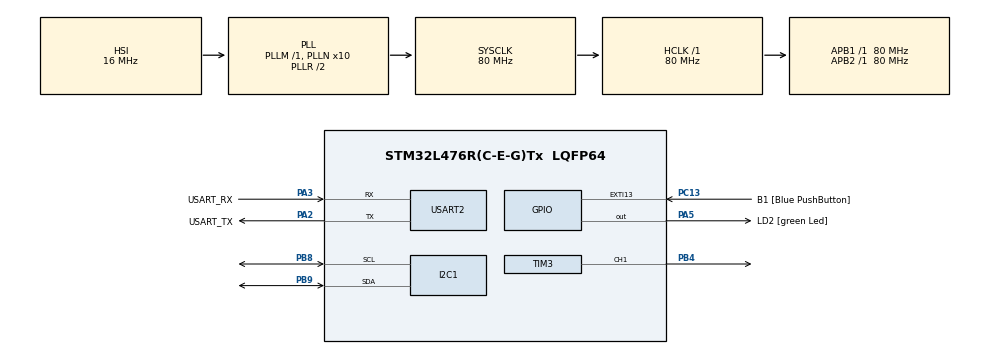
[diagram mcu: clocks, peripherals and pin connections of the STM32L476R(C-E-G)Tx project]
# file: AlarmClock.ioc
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FREERTOS.Tasks01=defaultTask,24,128,StartDefaultTask,Default,NULL,Dynamic,NULL,NULL;get_cmd,8,512,get_command,Default,NULL,Dynamic,NULL,NULL;chackAlarm,8,512,Alarmcheck,Default,NULL,Dynamic,NULL,NULL
FREERTOS.configTOTAL_HEAP_SIZE=6000
I2C1.Timing=0x10909CEC
Mcu.Family=STM32L4
Mcu.Name=STM32L476R(C-E-G)Tx
Mcu.Package=LQFP64
NVIC.PriorityGroup=NVIC_PRIORITYGROUP_4
PA13\ (JTMS-SWDIO).GPIO_Label=TMS
PA13\ (JTMS-SWDIO).Mode=Serial_Wire
PA13\ (JTMS-SWDIO).Signal=SYS_JTMS-SWDIO
PA14\ (JTCK-SWCLK).GPIO_Label=TCK
PA14\ (JTCK-SWCLK).Mode=Serial_Wire
PA14\ (JTCK-SWCLK).Signal=SYS_JTCK-SWCLK
PA2.GPIO_Label=USART_TX
PA2.GPIO_Mode=GPIO_MODE_AF_PP
PA2.GPIO_PuPd=GPIO_NOPULL
PA2.GPIO_Speed=GPIO_SPEED_FREQ_VERY_HIGH
PA2.Mode=Asynchronous
PA2.Signal=USART2_TX
PA3.GPIO_Label=USART_RX
PA3.GPIO_Mode=GPIO_MODE_AF_PP
PA3.GPIO_PuPd=GPIO_NOPULL
PA3.GPIO_Speed=GPIO_SPEED_FREQ_VERY_HIGH
PA3.Mode=Asynchronous
PA3.Signal=USART2_RX
PA5.GPIO_Label=LD2 [green Led]
PA5.GPIO_ModeDefaultOutputPP=GPIO_MODE_OUTPUT_PP
PA5.GPIO_PuPd=GPIO_NOPULL
PA5.GPIO_Speed=GPIO_SPEED_FREQ_LOW
PA5.Signal=GPIO_Output
PB3\ (JTDO-TRACESWO).GPIO_Label=SWO
PB3\ (JTDO-TRACESWO).Signal=SYS_JTDO-SWO
PB4\ (NJTRST).Signal=S_TIM3_CH1
PB8.Mode=I2C
PB8.Signal=I2C1_SCL
PB9.Mode=I2C
PB9.Signal=I2C1_SDA
PC13.GPIO_Label=B1 [Blue PushButton]
PC13.GPIO_ModeDefaultEXTI=GPIO_MODE_IT_FALLING
PC13.GPIO_PuPd=GPIO_NOPULL
PC13.Signal=GPXTI13
PC14-OSC32_IN\ (PC14).Mode=LSE-External-Oscillator
PC14-OSC32_IN\ (PC14).Signal=RCC_OSC32_IN
PC15-OSC32_OUT\ (PC15).Mode=LSE-External-Oscillator
PC15-OSC32_OUT\ (PC15).Signal=RCC_OSC32_OUT
PH0-OSC_IN\ (PH0).Signal=RCC_OSC_IN
PH1-OSC_OUT\ (PH1).Signal=RCC_OSC_OUT
ProjectManager.HeapSize=0x200
ProjectManager.StackSize=0x400
ProjectManager.TargetToolchain=STM32CubeIDE
RCC.ADCFreq_Value=64000000
RCC.AHBFreq_Value=80000000
RCC.APB1Freq_Value=80000000
RCC.APB1TimFreq_Value=80000000
RCC.APB2Freq_Value=80000000
RCC.APB2TimFreq_Value=80000000
RCC.CortexFreq_Value=80000000
RCC.HCLKFreq_Value=80000000
RCC.HSE_VALUE=8000000
RCC.HSI_VALUE=16000000
RCC.MSI_VALUE=4000000
RCC.PLLN=10
RCC.PLLSourceVirtual=RCC_PLLSOURCE_HSI
RCC.PREFETCH_ENABLE=1
RCC.SYSCLKFreq_VALUE=80000000
RCC.SYSCLKSource=RCC_SYSCLKSOURCE_PLLCLK
RCC.USBFreq_Value=64000000
RCC.VCOOutputFreq_Value=160000000
SH.S_TIM3_CH1.0=TIM3_CH1,PWM Generation1 CH1
TIM3.Channel-PWM\ Generation1\ CH1=TIM_CHANNEL_1
TIM3.Period=381
TIM3.Prescaler=799
USART2.VirtualMode-Asynchronous=VM_ASYNC
VP_FREERTOS_VS_CMSIS_V2.Mode=CMSIS_V2
VP_TIM3_VS_ClockSourceINT.Mode=Internal
board=NUCLEO-L476RG

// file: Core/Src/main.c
/* USER CODE BEGIN Header */
/**
  ******************************************************************************
  * @file           : main.c
  * @brief          : Main program body
  ******************************************************************************
  * @attention
  *
  * Copyright (c) 2022 STMicroelectronics.
  * All rights reserved.
  *
  * This software is licensed under terms that can be found in the LICENSE file
  * in the root directory of this software component.
  * If no LICENSE file comes with this software, it is provided AS-IS.
  *
  ******************************************************************************
  */
/* USER CODE END Header */
#include "main.h"
#include "cmsis_os.h"

/* USER CODE BEGIN Includes */
#include "stdint.h"
#include "stdio.h"
#include <string.h>
#include <stdlib.h>
#include "Rtc.h"
#include "commTask.h"
#include "LED.h"
#include "BUZZER.h"
#include "CLI.h"
#include "Alarm.h"
#include "BUTTON.h"
/* USER CODE END Includes */

/* USER CODE BEGIN PTD */
Rtc _rtc;
DateTime timeNow;
Led _redLed;
Buzzer _buzzer;
Led _redLed;
Led _blueLed;
Button _rightButton;
Button _leftButton;
/* USER CODE END PTD */

 I2C_HandleTypeDef hi2c1;

TIM_HandleTypeDef htim3;

UART_HandleTypeDef huart2;

/* Definitions for defaultTask */
osThreadId_t defaultTaskHandle;
const osThreadAttr_t defaultTask_attributes = {
  .name = "defaultTask",
  .stack_size = 128 * 4,
  .priority = (osPriority_t) osPriorityNormal,
};
/* Definitions for get_cmd */
osThreadId_t get_cmdHandle;
const osThreadAttr_t get_cmd_attributes = {
  .name = "get_cmd",
  .stack_size = 512 * 4,
  .priority = (osPriority_t) osPriorityLow,
};
/* Definitions for chackAlarm */
osThreadId_t chackAlarmHandle;
const osThreadAttr_t chackAlarm_attributes = {
  .name = "chackAlarm",
  .stack_size = 512 * 4,
  .priority = (osPriority_t) osPriorityLow,
};

void SystemClock_Config(void);
static void MX_GPIO_Init(void);
static void MX_USART2_UART_Init(void);
static void MX_I2C1_Init(void);
static void MX_TIM3_Init(void);
void StartDefaultTask(void *argument);
void get_command(void *argument);
void Alarmcheck(void *argument);

/* USER CODE BEGIN 0 */

int _write(int fd, char* ptr, int len)
 {
     HAL_UART_Transmit(&huart2, (uint8_t *) ptr, len, HAL_MAX_DELAY);
     return len;
 }

/* USER CODE END 0 */

int main(void)
{

  /* MCU Configuration--------------------------------------------------------*/

  /* Reset of all peripherals, Initializes the Flash interface and the Systick. */
  HAL_Init();

  /* Configure the system clock */
  SystemClock_Config();

  /* Initialize all configured peripherals */
  MX_GPIO_Init();
  MX_USART2_UART_Init();
  MX_I2C1_Init();
  MX_TIM3_Init();
  /* USER CODE BEGIN 2 */

  rtcInit(&_rtc, &hi2c1, 0xD0);
  initAlarms();
  cliInit();
  buzzerInit(&_buzzer , &htim3, TIM_CHANNEL_1);
//  ledInit(&_redLed , RLED_GPIO_Port, RLED_Pin);
//  buttonInit(&_rightButton , RB_GPIO_Port , RB_Pin);
//  buttonInit(&_leftButton , LB_GPIO_Port , LB_Pin);
  /* USER CODE END 2 */

  /* Init scheduler */
  osKernelInitialize();

  /* Create the thread(s) */
  /* creation of defaultTask */
  defaultTaskHandle = osThreadNew(StartDefaultTask, NULL, &defaultTask_attributes);

  /* creation of get_cmd */
  get_cmdHandle = osThreadNew(get_command, NULL, &get_cmd_attributes);

  /* creation of chackAlarm */
  chackAlarmHandle = osThreadNew(Alarmcheck, NULL, &chackAlarm_attributes);

  /* Start scheduler */
  osKernelStart();

  /* We should never get here as control is now taken by the scheduler */
  /* Infinite loop */
  while (1)
  {

  }
}

void SystemClock_Config(void)
{
  RCC_OscInitTypeDef RCC_OscInitStruct = {0};
  RCC_ClkInitTypeDef RCC_ClkInitStruct = {0};

  /** Configure the main internal regulator output voltage
  */
  if (HAL_PWREx_ControlVoltageScaling(PWR_REGULATOR_VOLTAGE_SCALE1) != HAL_OK)
  {
    Error_Handler();
  }

  /** Initializes the RCC Oscillators according to the specified parameters
  * in the RCC_OscInitTypeDef structure.
  */
  RCC_OscInitStruct.OscillatorType = RCC_OSCILLATORTYPE_HSI;
  RCC_OscInitStruct.HSIState = RCC_HSI_ON;
  RCC_OscInitStruct.HSICalibrationValue = RCC_HSICALIBRATION_DEFAULT;
  RCC_OscInitStruct.PLL.PLLState = RCC_PLL_ON;
  RCC_OscInitStruct.PLL.PLLSource = RCC_PLLSOURCE_HSI;
  RCC_OscInitStruct.PLL.PLLM = 1;
  RCC_OscInitStruct.PLL.PLLN = 10;
  RCC_OscInitStruct.PLL.PLLP = RCC_PLLP_DIV7;
  RCC_OscInitStruct.PLL.PLLQ = RCC_PLLQ_DIV2;
  RCC_OscInitStruct.PLL.PLLR = RCC_PLLR_DIV2;
  if (HAL_RCC_OscConfig(&RCC_OscInitStruct) != HAL_OK)
  {
    Error_Handler();
  }

  /** Initializes the CPU, AHB and APB buses clocks
  */
  RCC_ClkInitStruct.ClockType = RCC_CLOCKTYPE_HCLK|RCC_CLOCKTYPE_SYSCLK
                              |RCC_CLOCKTYPE_PCLK1|RCC_CLOCKTYPE_PCLK2;
  RCC_ClkInitStruct.SYSCLKSource = RCC_SYSCLKSOURCE_PLLCLK;
  RCC_ClkInitStruct.AHBCLKDivider = RCC_SYSCLK_DIV1;
  RCC_ClkInitStruct.APB1CLKDivider = RCC_HCLK_DIV1;
  RCC_ClkInitStruct.APB2CLKDivider = RCC_HCLK_DIV1;

  if (HAL_RCC_ClockConfig(&RCC_ClkInitStruct, FLASH_LATENCY_4) != HAL_OK)
  {
    Error_Handler();
  }
}

static void MX_I2C1_Init(void)
{

  hi2c1.Instance = I2C1;
  hi2c1.Init.Timing = 0x10909CEC;
  hi2c1.Init.OwnAddress1 = 0;
  hi2c1.Init.AddressingMode = I2C_ADDRESSINGMODE_7BIT;
  hi2c1.Init.DualAddressMode = I2C_DUALADDRESS_DISABLE;
  hi2c1.Init.OwnAddress2 = 0;
  hi2c1.Init.OwnAddress2Masks = I2C_OA2_NOMASK;
  hi2c1.Init.GeneralCallMode = I2C_GENERALCALL_DISABLE;
  hi2c1.Init.NoStretchMode = I2C_NOSTRETCH_DISABLE;
  if (HAL_I2C_Init(&hi2c1) != HAL_OK)
  {
    Error_Handler();
  }

  /** Configure Analogue filter
  */
  if (HAL_I2CEx_ConfigAnalogFilter(&hi2c1, I2C_ANALOGFILTER_ENABLE) != HAL_OK)
  {
    Error_Handler();
  }

  /** Configure Digital filter
  */
  if (HAL_I2CEx_ConfigDigitalFilter(&hi2c1, 0) != HAL_OK)
  {
    Error_Handler();
  }

}

static void MX_TIM3_Init(void)
{

  TIM_ClockConfigTypeDef sClockSourceConfig = {0};
  TIM_MasterConfigTypeDef sMasterConfig = {0};
  TIM_OC_InitTypeDef sConfigOC = {0};

  htim3.Instance = TIM3;
  htim3.Init.Prescaler = 799;
  htim3.Init.CounterMode = TIM_COUNTERMODE_UP;
  htim3.Init.Period = 381;
  htim3.Init.ClockDivision = TIM_CLOCKDIVISION_DIV1;
  htim3.Init.AutoReloadPreload = TIM_AUTORELOAD_PRELOAD_DISABLE;
  if (HAL_TIM_Base_Init(&htim3) != HAL_OK)
  {
    Error_Handler();
  }
  sClockSourceConfig.ClockSource = TIM_CLOCKSOURCE_INTERNAL;
  if (HAL_TIM_ConfigClockSource(&htim3, &sClockSourceConfig) != HAL_OK)
  {
    Error_Handler();
  }
  if (HAL_TIM_PWM_Init(&htim3) != HAL_OK)
  {
    Error_Handler();
  }
  sMasterConfig.MasterOutputTrigger = TIM_TRGO_RESET;
  sMasterConfig.MasterSlaveMode = TIM_MASTERSLAVEMODE_DISABLE;
  if (HAL_TIMEx_MasterConfigSynchronization(&htim3, &sMasterConfig) != HAL_OK)
  {
    Error_Handler();
  }
  sConfigOC.OCMode = TIM_OCMODE_PWM1;
  sConfigOC.Pulse = 0;
  sConfigOC.OCPolarity = TIM_OCPOLARITY_HIGH;
  sConfigOC.OCFastMode = TIM_OCFAST_DISABLE;
  if (HAL_TIM_PWM_ConfigChannel(&htim3, &sConfigOC, TIM_CHANNEL_1) != HAL_OK)
  {
    Error_Handler();
  }
  HAL_TIM_MspPostInit(&htim3);

}

static void MX_USART2_UART_Init(void)
{

  huart2.Instance = USART2;
  huart2.Init.BaudRate = 115200;
  huart2.Init.WordLength = UART_WORDLENGTH_8B;
  huart2.Init.StopBits = UART_STOPBITS_1;
  huart2.Init.Parity = UART_PARITY_NONE;
  huart2.Init.Mode = UART_MODE_TX_RX;
  huart2.Init.HwFlowCtl = UART_HWCONTROL_NONE;
  huart2.Init.OverSampling = UART_OVERSAMPLING_16;
  huart2.Init.OneBitSampling = UART_ONE_BIT_SAMPLE_DISABLE;
  huart2.AdvancedInit.AdvFeatureInit = UART_ADVFEATURE_NO_INIT;
  if (HAL_UART_Init(&huart2) != HAL_OK)
  {
    Error_Handler();
  }

}

static void MX_GPIO_Init(void)
{
  GPIO_InitTypeDef GPIO_InitStruct = {0};

  /* GPIO Ports Clock Enable */
  __HAL_RCC_GPIOC_CLK_ENABLE();
  __HAL_RCC_GPIOH_CLK_ENABLE();
  __HAL_RCC_GPIOA_CLK_ENABLE();
  __HAL_RCC_GPIOB_CLK_ENABLE();

  /*Configure GPIO pin Output Level */
  HAL_GPIO_WritePin(LD2_GPIO_Port, LD2_Pin, GPIO_PIN_RESET);

  /*Configure GPIO pin : B1_Pin */
  GPIO_InitStruct.Pin = B1_Pin;
  GPIO_InitStruct.Mode = GPIO_MODE_IT_FALLING;
  GPIO_InitStruct.Pull = GPIO_NOPULL;
  HAL_GPIO_Init(B1_GPIO_Port, &GPIO_InitStruct);

  /*Configure GPIO pin : LD2_Pin */
  GPIO_InitStruct.Pin = LD2_Pin;
  GPIO_InitStruct.Mode = GPIO_MODE_OUTPUT_PP;
  GPIO_InitStruct.Pull = GPIO_NOPULL;
  GPIO_InitStruct.Speed = GPIO_SPEED_FREQ_LOW;
  HAL_GPIO_Init(LD2_GPIO_Port, &GPIO_InitStruct);

}

void StartDefaultTask(void *argument)
{
  for(;;)
  {
    osDelay(1);
  }
}

void get_command(void *argument)
{
  /* USER CODE BEGIN get_command */
  /* Infinite loop */
  for(;;)
  {
      //rtcGetTime(&rtc , &timeNow);
     // printf("the time now %d :%d:%d\n\r" ,timeNow.hours,timeNow.min,timeNow.sec);
	   if(commTask())
		 {
		     	handleCommand();
		 }
	    osDelay(1);
  }
  /* USER CODE END get_command */
}

void Alarmcheck(void *argument)
{
  /* USER CODE BEGIN Alarmcheck */
  /* Infinite loop */
  for(;;)
  {
	checkAlarms(rtcGetSeconds(&_rtc));
    osDelay(400);
  }
  /* USER CODE END Alarmcheck */
}

void Error_Handler(void)
{
  __disable_irq();
  while (1)
  {
  }
}
